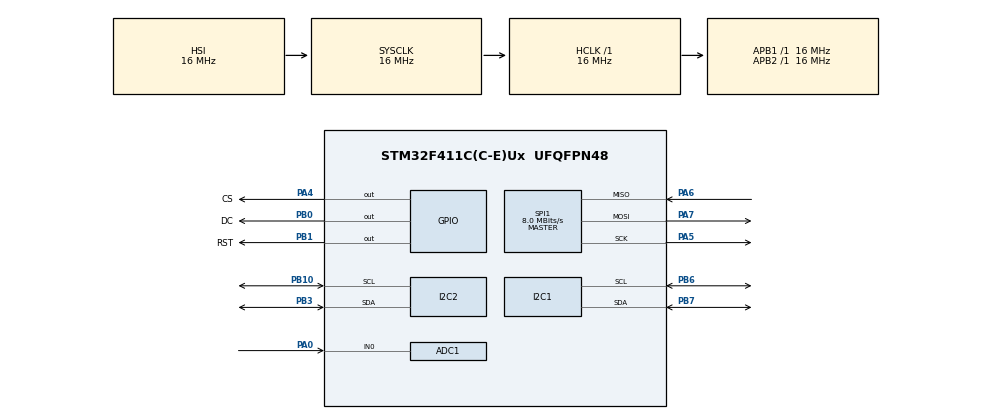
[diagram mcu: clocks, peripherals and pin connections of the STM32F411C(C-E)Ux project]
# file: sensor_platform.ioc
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ADC1.Channel-0\#ChannelRegularConversion=ADC_CHANNEL_0
ADC1.NbrOfConversionFlag=1
ADC1.Rank-0\#ChannelRegularConversion=1
ADC1.SamplingTime-0\#ChannelRegularConversion=ADC_SAMPLETIME_3CYCLES
ADC1.master=1
Dma.Request0=SPI1_TX
Dma.SPI1_TX.0.Direction=DMA_MEMORY_TO_PERIPH
Dma.SPI1_TX.0.FIFOMode=DMA_FIFOMODE_DISABLE
Dma.SPI1_TX.0.Instance=DMA2_Stream2
Dma.SPI1_TX.0.MemDataAlignment=DMA_MDATAALIGN_BYTE
Dma.SPI1_TX.0.MemInc=DMA_MINC_ENABLE
Dma.SPI1_TX.0.Mode=DMA_NORMAL
Dma.SPI1_TX.0.PeriphDataAlignment=DMA_PDATAALIGN_BYTE
Dma.SPI1_TX.0.PeriphInc=DMA_PINC_DISABLE
Dma.SPI1_TX.0.Priority=DMA_PRIORITY_LOW
Mcu.Family=STM32F4
Mcu.Name=STM32F411C(C-E)Ux
Mcu.Package=UFQFPN48
NVIC.DMA2_Stream2_IRQn=true\:0\:0\:false\:false\:true\:false\:true\:true
NVIC.PriorityGroup=NVIC_PRIORITYGROUP_4
PA0-WKUP.Signal=ADCx_IN0
PA13.Mode=Serial_Wire
PA13.Signal=SYS_JTMS-SWDIO
PA14.Mode=Serial_Wire
PA14.Signal=SYS_JTCK-SWCLK
PA4.GPIO_Label=CS
PA4.Signal=GPIO_Output
PA5.Mode=Full_Duplex_Master
PA5.Signal=SPI1_SCK
PA6.Mode=Full_Duplex_Master
PA6.Signal=SPI1_MISO
PA7.Mode=Full_Duplex_Master
PA7.Signal=SPI1_MOSI
PB0.GPIO_Label=DC
PB0.Signal=GPIO_Output
PB1.GPIO_Label=RST
PB1.Signal=GPIO_Output
PB10.Mode=I2C
PB10.Signal=I2C2_SCL
PB3.Mode=I2C
PB3.Signal=I2C2_SDA
PB6.Mode=I2C
PB6.Signal=I2C1_SCL
PB7.Mode=I2C
PB7.Signal=I2C1_SDA
ProjectManager.HeapSize=0x200
ProjectManager.StackSize=0x400
ProjectManager.TargetToolchain=STM32CubeIDE
RCC.AHBFreq_Value=16000000
RCC.APB1Freq_Value=16000000
RCC.APB2Freq_Value=16000000
RCC.CortexFreq_Value=16000000
RCC.HSE_VALUE=25000000
RCC.HSI_VALUE=16000000
RCC.LSE_VALUE=32768
RCC.SYSCLKFreq_VALUE=16000000
RCC.VCOOutputFreq_Value=192000000
SH.ADCx_IN0.0=ADC1_IN0,IN0
SPI1.CalculateBaudRate=8.0 MBits/s
SPI1.Direction=SPI_DIRECTION_2LINES
SPI1.Mode=SPI_MODE_MASTER
SPI1.VirtualType=VM_MASTER
board=custom

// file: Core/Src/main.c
/* USER CODE BEGIN Header */
/**
 ******************************************************************************
 * @file           : main.c
 * @brief          : Main program body
 ******************************************************************************
 * @attention
 *
 * Copyright (c) 2026 STMicroelectronics.
 * All rights reserved.
 *
 * This software is licensed under terms that can be found in the LICENSE file
 * in the root directory of this software component.
 * If no LICENSE file comes with this software, it is provided AS-IS.
 *
 ******************************************************************************
 */
/* USER CODE END Header */
#include "main.h"

/* USER CODE BEGIN Includes */
#include "imu_dashboard.h"
#include "mpu6050.h"
#include "st7789.h"

/* USER CODE END Includes */

ADC_HandleTypeDef hadc1;

I2C_HandleTypeDef hi2c1;
I2C_HandleTypeDef hi2c2;

SPI_HandleTypeDef hspi1;
DMA_HandleTypeDef hdma_spi1_tx;

/* USER CODE BEGIN PV */
MPU6050_HandleTypeDef hmpu6050;
MPU6050_Data_t imu_data;
uint32_t imu_last_read_ms = 0U;
uint32_t dashboard_last_draw_ms = 0U;

/* USER CODE END PV */

void SystemClock_Config(void);
static void MX_GPIO_Init(void);
static void MX_DMA_Init(void);
static void MX_ADC1_Init(void);
static void MX_I2C1_Init(void);
static void MX_I2C2_Init(void);
static void MX_SPI1_Init(void);

int main(void) {

  /* MCU Configuration--------------------------------------------------------*/

  /* Reset of all peripherals, Initializes the Flash interface and the Systick. */
  HAL_Init();

  /* Configure the system clock */
  SystemClock_Config();

  /* Initialize all configured peripherals */
  MX_GPIO_Init();
  MX_DMA_Init();
  MX_ADC1_Init();
  MX_I2C1_Init();
  MX_I2C2_Init();
  MX_SPI1_Init();
  /* USER CODE BEGIN 2 */
  ST7789_Init(&hspi1);
  MPU6050_Init(&hmpu6050, &hi2c1, MPU6050_I2C_ADDR_LOW);
  MPU6050_ReadAll(&hmpu6050, &imu_data);
  IMU_Dashboard_Draw(&imu_data);

  /* USER CODE END 2 */

  /* Infinite loop */
  while (1) {

    /* USER CODE BEGIN 3 */
    uint32_t now = HAL_GetTick();

    if ((now - imu_last_read_ms) >= 10U) {
      imu_last_read_ms = now;
      MPU6050_ReadAll(&hmpu6050, &imu_data);
    }

    if (((now - dashboard_last_draw_ms) >= 50U) && (ST7789_IsBusy() == 0U)) {
      dashboard_last_draw_ms = now;
      IMU_Dashboard_Draw(&imu_data);
    }
  }
  /* USER CODE END 3 */
}

void SystemClock_Config(void) {
  RCC_OscInitTypeDef RCC_OscInitStruct = {0};
  RCC_ClkInitTypeDef RCC_ClkInitStruct = {0};

  /** Configure the main internal regulator output voltage
   */
  __HAL_RCC_PWR_CLK_ENABLE();
  __HAL_PWR_VOLTAGESCALING_CONFIG(PWR_REGULATOR_VOLTAGE_SCALE1);

  /** Initializes the RCC Oscillators according to the specified parameters
   * in the RCC_OscInitTypeDef structure.
   */
  RCC_OscInitStruct.OscillatorType = RCC_OSCILLATORTYPE_HSI;
  RCC_OscInitStruct.HSIState = RCC_HSI_ON;
  RCC_OscInitStruct.HSICalibrationValue = RCC_HSICALIBRATION_DEFAULT;
  RCC_OscInitStruct.PLL.PLLState = RCC_PLL_NONE;
  if (HAL_RCC_OscConfig(&RCC_OscInitStruct) != HAL_OK) {
    Error_Handler();
  }

  /** Initializes the CPU, AHB and APB buses clocks
   */
  RCC_ClkInitStruct.ClockType =
      RCC_CLOCKTYPE_HCLK | RCC_CLOCKTYPE_SYSCLK | RCC_CLOCKTYPE_PCLK1 | RCC_CLOCKTYPE_PCLK2;
  RCC_ClkInitStruct.SYSCLKSource = RCC_SYSCLKSOURCE_HSI;
  RCC_ClkInitStruct.AHBCLKDivider = RCC_SYSCLK_DIV1;
  RCC_ClkInitStruct.APB1CLKDivider = RCC_HCLK_DIV1;
  RCC_ClkInitStruct.APB2CLKDivider = RCC_HCLK_DIV1;

  if (HAL_RCC_ClockConfig(&RCC_ClkInitStruct, FLASH_LATENCY_0) != HAL_OK) {
    Error_Handler();
  }
}

static void MX_ADC1_Init(void) {

  ADC_ChannelConfTypeDef sConfig = {0};

  /** Configure the global features of the ADC (Clock, Resolution, Data Alignment and number of
   * conversion)
   */
  hadc1.Instance = ADC1;
  hadc1.Init.ClockPrescaler = ADC_CLOCK_SYNC_PCLK_DIV2;
  hadc1.Init.Resolution = ADC_RESOLUTION_12B;
  hadc1.Init.ScanConvMode = DISABLE;
  hadc1.Init.ContinuousConvMode = DISABLE;
  hadc1.Init.DiscontinuousConvMode = DISABLE;
  hadc1.Init.ExternalTrigConvEdge = ADC_EXTERNALTRIGCONVEDGE_NONE;
  hadc1.Init.ExternalTrigConv = ADC_SOFTWARE_START;
  hadc1.Init.DataAlign = ADC_DATAALIGN_RIGHT;
  hadc1.Init.NbrOfConversion = 1;
  hadc1.Init.DMAContinuousRequests = DISABLE;
  hadc1.Init.EOCSelection = ADC_EOC_SINGLE_CONV;
  if (HAL_ADC_Init(&hadc1) != HAL_OK) {
    Error_Handler();
  }

  /** Configure for the selected ADC regular channel its corresponding rank in the sequencer and its
   * sample time.
   */
  sConfig.Channel = ADC_CHANNEL_0;
  sConfig.Rank = 1;
  sConfig.SamplingTime = ADC_SAMPLETIME_3CYCLES;
  if (HAL_ADC_ConfigChannel(&hadc1, &sConfig) != HAL_OK) {
    Error_Handler();
  }
}

static void MX_I2C1_Init(void) {

  hi2c1.Instance = I2C1;
  hi2c1.Init.ClockSpeed = 100000;
  hi2c1.Init.DutyCycle = I2C_DUTYCYCLE_2;
  hi2c1.Init.OwnAddress1 = 0;
  hi2c1.Init.AddressingMode = I2C_ADDRESSINGMODE_7BIT;
  hi2c1.Init.DualAddressMode = I2C_DUALADDRESS_DISABLE;
  hi2c1.Init.OwnAddress2 = 0;
  hi2c1.Init.GeneralCallMode = I2C_GENERALCALL_DISABLE;
  hi2c1.Init.NoStretchMode = I2C_NOSTRETCH_DISABLE;
  if (HAL_I2C_Init(&hi2c1) != HAL_OK) {
    Error_Handler();
  }
}

static void MX_I2C2_Init(void) {

  hi2c2.Instance = I2C2;
  hi2c2.Init.ClockSpeed = 100000;
  hi2c2.Init.DutyCycle = I2C_DUTYCYCLE_2;
  hi2c2.Init.OwnAddress1 = 0;
  hi2c2.Init.AddressingMode = I2C_ADDRESSINGMODE_7BIT;
  hi2c2.Init.DualAddressMode = I2C_DUALADDRESS_DISABLE;
  hi2c2.Init.OwnAddress2 = 0;
  hi2c2.Init.GeneralCallMode = I2C_GENERALCALL_DISABLE;
  hi2c2.Init.NoStretchMode = I2C_NOSTRETCH_DISABLE;
  if (HAL_I2C_Init(&hi2c2) != HAL_OK) {
    Error_Handler();
  }
}

static void MX_SPI1_Init(void) {

  /* SPI1 parameter configuration*/
  hspi1.Instance = SPI1;
  hspi1.Init.Mode = SPI_MODE_MASTER;
  hspi1.Init.Direction = SPI_DIRECTION_2LINES;
  hspi1.Init.DataSize = SPI_DATASIZE_8BIT;
  hspi1.Init.CLKPolarity = SPI_POLARITY_LOW;
  hspi1.Init.CLKPhase = SPI_PHASE_1EDGE;
  hspi1.Init.NSS = SPI_NSS_SOFT;
  hspi1.Init.BaudRatePrescaler = SPI_BAUDRATEPRESCALER_2;
  hspi1.Init.FirstBit = SPI_FIRSTBIT_MSB;
  hspi1.Init.TIMode = SPI_TIMODE_DISABLE;
  hspi1.Init.CRCCalculation = SPI_CRCCALCULATION_DISABLE;
  hspi1.Init.CRCPolynomial = 10;
  if (HAL_SPI_Init(&hspi1) != HAL_OK) {
    Error_Handler();
  }
}

static void MX_DMA_Init(void) {

  /* DMA controller clock enable */
  __HAL_RCC_DMA2_CLK_ENABLE();

  /* DMA interrupt init */
  /* DMA2_Stream2_IRQn interrupt configuration */
  HAL_NVIC_SetPriority(DMA2_Stream2_IRQn, 0, 0);
  HAL_NVIC_EnableIRQ(DMA2_Stream2_IRQn);
}

static void MX_GPIO_Init(void) {
  GPIO_InitTypeDef GPIO_InitStruct = {0};

  /* GPIO Ports Clock Enable */
  __HAL_RCC_GPIOA_CLK_ENABLE();
  __HAL_RCC_GPIOB_CLK_ENABLE();

  /*Configure GPIO pin Output Level */
  HAL_GPIO_WritePin(CS_GPIO_Port, CS_Pin, GPIO_PIN_RESET);

  /*Configure GPIO pin Output Level */
  HAL_GPIO_WritePin(GPIOB, DC_Pin | RST_Pin, GPIO_PIN_RESET);

  /*Configure GPIO pin : CS_Pin */
  GPIO_InitStruct.Pin = CS_Pin;
  GPIO_InitStruct.Mode = GPIO_MODE_OUTPUT_PP;
  GPIO_InitStruct.Pull = GPIO_NOPULL;
  GPIO_InitStruct.Speed = GPIO_SPEED_FREQ_LOW;
  HAL_GPIO_Init(CS_GPIO_Port, &GPIO_InitStruct);

  /*Configure GPIO pins : DC_Pin RST_Pin */
  GPIO_InitStruct.Pin = DC_Pin | RST_Pin;
  GPIO_InitStruct.Mode = GPIO_MODE_OUTPUT_PP;
  GPIO_InitStruct.Pull = GPIO_NOPULL;
  GPIO_InitStruct.Speed = GPIO_SPEED_FREQ_LOW;
  HAL_GPIO_Init(GPIOB, &GPIO_InitStruct);

}

void Error_Handler(void) {
  __disable_irq();
  while (1) {
  }
}
